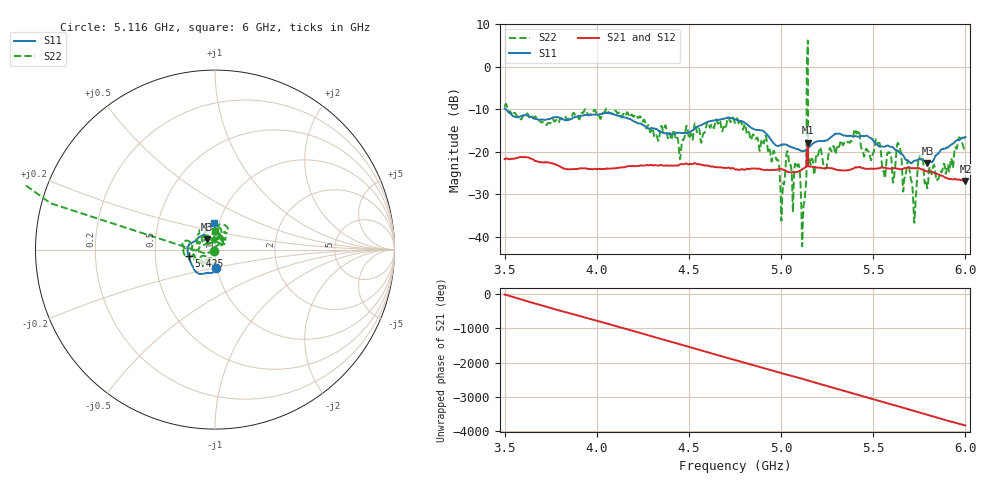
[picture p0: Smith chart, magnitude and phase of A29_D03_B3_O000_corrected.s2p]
! Created with skrf 1.9.0 (http://scikit-rf.org).
# Hz S RI R 50.0
!freq ReS11 ImS11 ReS21 ImS21 ReS12 ImS12 ReS22 ImS22
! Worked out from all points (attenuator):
!   1601 points, 3.5 GHz to 6 GHz, reference 50 ohm
!   highest |S21| = -17.88 dB at 5.145 GHz (marker M1); lowest = -26.9 dB at 6 GHz (marker M2)
!   lowest |S11| = -22.8 dB at 5.794 GHz (marker M3), VSWR 1.16, Z = 45.4 + j5.17 ohm
!   |S11| at or under -10 dB: 3.506 GHz to end of sweep
!   |S22| runs from -42.2 to 6.2 dB; largest |S21 - S12| = 0.0013
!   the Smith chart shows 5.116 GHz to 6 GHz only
!   S11 on the Smith chart (normalised r, x): 5.116 GHz: 0.99, -0.20; 5.425 GHz: 0.74, -0.05; 6 GHz: 0.94, +0.29
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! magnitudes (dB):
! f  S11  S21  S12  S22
! 3.5 GHz  -9.8  -21.8  -21.8  -9.5
! 3.917 GHz  -11.6  -23.9  -23.9  -10.9
! 4.334 GHz  -15.0  -23.3  -23.2  -17.5
! 4.75 GHz  -12.4  -24.2  -24.1  -13.2
! 4.97 GHz  -18.5  -24.2  -24.2  -21.4
! 5.006 GHz  -18.4  -24.1  -24.1  -30.6
! 5.034 GHz  -18.5  -24.7  -24.7  -19.9
! 5.088 GHz  -19.4  -24.8  -24.7  -23.6
! 5.116 GHz  -19.9  -24.1  -24.1  -41.6
! 5.125 GHz  -19.8  -23.9  -23.9  -32.1
! 5.133 GHz  -19.7  -23.7  -23.6  -28.9
! 5.145 GHz  -19.2  -17.9  -17.8  6.2
! 5.167 GHz  -18.3  -23.5  -23.5  -21.7
! 5.425 GHz  -16.4  -23.6  -23.5  -15.7
! 5.558 GHz  -18.9  -23.8  -23.7  -24.8
! 5.584 GHz  -18.7  -24.0  -23.9  -20.2
! 5.611 GHz  -19.1  -23.9  -23.8  -26.8
! 5.639 GHz  -20.0  -24.1  -24.1  -18.4
! 5.722 GHz  -22.1  -23.9  -23.8  -36.4
! 5.755 GHz  -21.8  -24.1  -24.0  -21.4
! 5.794 GHz  -22.8  -24.7  -24.6  -28.6
! 6 GHz  -16.6  -26.9  -26.9  -19.5
